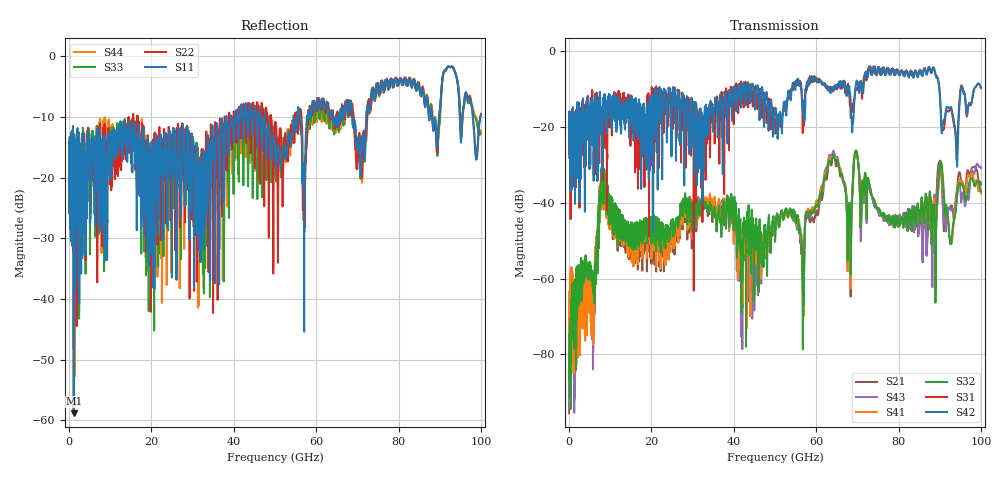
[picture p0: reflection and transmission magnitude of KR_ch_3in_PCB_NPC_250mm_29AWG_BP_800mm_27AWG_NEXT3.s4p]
! Created Thu Mar  2 12:41:38 2023
# ghz S ma R 45
! 4 Port Network Data from SP1.SP block
! freq  magS11  angS11  magS12  angS12  magS13  angS13  magS14  angS14
!  magS21  angS21  magS22  angS22  magS23  angS23  magS24  angS24
!  magS31  angS31  magS32  angS32  magS33  angS33  magS34  angS34
!  magS41  angS41  magS42  angS42  magS43  angS43  magS44  angS44
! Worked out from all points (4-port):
!   4000 points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, 25 MHz to 100 GHz, reference 45 ohm
!   strongest paths, dB at 25 MHz, 25.02 GHz, 50.02 GHz, 75.03 GHz, 100 GHz:
!     S42: -21.1, -13.9, -15.8, -4.8, -9.6
!     S31: -21.1, -18.1, -18.0, -4.1, -9.7
!     S32: -86.7, -45.4, -50.3, -41.5, -37.0
!     S41: -86.9, -46.7, -47.5, -41.5, -37.5
!     S43: -94.2, -46.9, -45.9, -42.4, -30.8
!     S21: -95.6, -48.8, -47.1, -42.3, -35.1
!   lowest |S11| = -58.8 dB at 1.125 GHz (marker M1), VSWR 1.00, Z = 45 + j0.101 ohm
!   |S11| at or under -10 dB: start of sweep to 38.16 GHz; 47.47 GHz to 55.53 GHz (8.061 GHz wide, 15.7 % of centre); 68.77 GHz to 72.17 GHz (3.401 GHz wide, 4.83 % of centre)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
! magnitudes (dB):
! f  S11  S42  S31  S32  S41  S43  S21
! 25 MHz  -16.4  -21.1  -21.1  -86.7  -86.9  -94.2  -95.6
! 1.125 GHz  -58.8  -27.1  -25.8  -70.8  -85.0  -72.8  -72.9
! 5.825 GHz  -16.8  -16.7  -19.2  -63.8  -76.8  -77.2  -75.3
! 8.2 GHz  -18.6  -17.4  -29.6  -29.7  -30.3  -29.7  -30.1
! 56.65 GHz  -21.0  -13.9  -16.2  -55.2  -55.5  -57.4  -56.9
! 63.88 GHz  -9.7  -9.5  -10.1  -28.3  -28.1  -27.3  -29.0
! 100 GHz  -9.7  -9.6  -9.7  -37.0  -37.5  -30.8  -35.1
